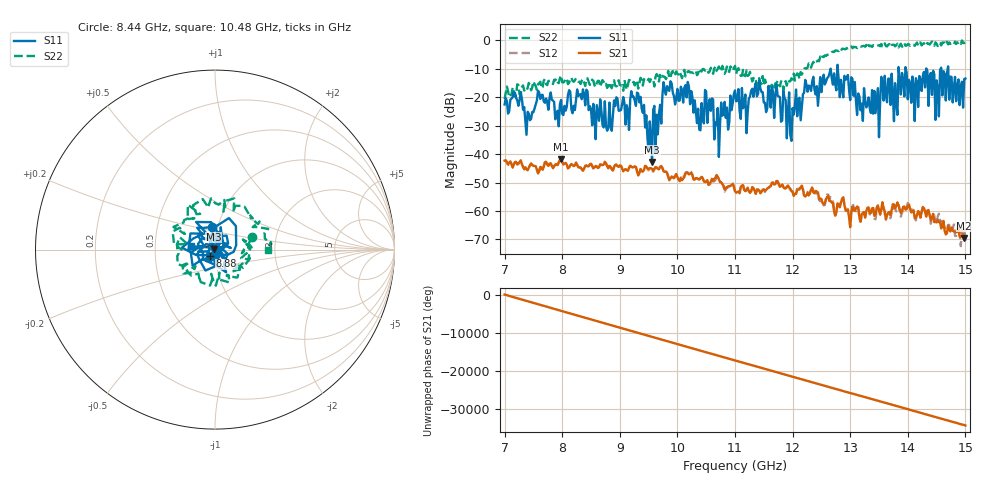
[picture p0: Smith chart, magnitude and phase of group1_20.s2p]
! 4/11/2025 3:27:37 PM
! C:\ANRITSUVNA\LELEC2350\LAB1_2025\GROUP1_20.S2P
! CHANNEL.1
! TR.MEASUREMENT
! CORRECTED.DATA
! RF.CORRECTION: FULL.TWO.PORT.CAL.PORT.1.2
! AVERAGING.OFF
! IF.BANDWIDTH: 300HZ
! SWEEPTYPE:  FREQ.SWEEP(Linear)
! Reference Plane Port Info
! PORT:  PORT1  PORT2
! DISTANCE:  0  m  0  m
! TIME:  0  s  0  s
! PHASE.OFFSET:  0 °  0 °
! LOSS:  0  dB  0  dB
! REF.LOSS:  0  dB  0  dB
! REF.FREQ:  0  Hz  0  Hz
! Power Info
! POWER:  5  dBm  5  dBm
! EFF.POWER:  5  dBm  5  dBm
# GHZ S RI R 50.0
! FREQ.GHZ  S11RE  S11IM  S21RE  S21IM  S12RE  S12IM  S22RE  S22IM
!; PortSelection: Port_12
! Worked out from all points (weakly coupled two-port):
!   401 points, 7 GHz to 15 GHz, reference 50 ohm
!   highest |S21| = -41.79 dB at 7.98 GHz (marker M1); lowest = -69.5 dB at 14.98 GHz (marker M2)
!   lowest |S11| = -42.8 dB at 9.56 GHz (marker M3), VSWR 1.01, Z = 49.4 + j0.408 ohm
!   |S11| at or under -10 dB: start of sweep to 12.66 GHz; 12.79 GHz to 13.84 GHz (1.054 GHz wide, 7.92 % of centre); 13.97 GHz to 14.32 GHz (352.9 MHz wide, 2.49 % of centre) (the widest 3 of 8)
!   |S22| runs from -20.6 to 0.0 dB; largest |S21 - S12| = 0.00042
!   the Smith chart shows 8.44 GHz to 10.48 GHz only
!   S11 on the Smith chart (normalised r, x): 8.44 GHz: 0.94, +0.24; 8.88 GHz: 0.94, -0.07; 10.48 GHz: 0.76, +0.03
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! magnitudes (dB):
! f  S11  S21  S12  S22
! 7 GHz  -22.5  -42.3  -42.3  -20.6
! 7.98 GHz  -20.9  -41.8  -41.6  -12.3
! 8.34 GHz  -20.6  -45.3  -45.4  -14.1
! 8.44 GHz  -17.8  -44.3  -44.3  -13.3
! 8.88 GHz  -26.6  -45.7  -45.7  -15.2
! 9.32 GHz  -18.7  -47.5  -47.3  -16.9
! 9.52 GHz  -28.4  -44.9  -45.2  -14.6
! 9.56 GHz  -42.8  -45.2  -45.6  -13.4
! 9.68 GHz  -25.7  -45.3  -45.3  -14.4
! 9.86 GHz  -17.7  -49.1  -49.2  -13.3
! 10.48 GHz  -17.4  -49.8  -50.0  -10.6
! 10.58 GHz  -24.7  -49.7  -50.2  -9.6
! 10.68 GHz  -29.8  -47.3  -48.1  -10.7
! 11 GHz  -17.6  -53.0  -52.9  -8.9
! 11.74 GHz  -19.4  -49.5  -49.8  -14.2
! 11.94 GHz  -18.3  -51.8  -52.2  -14.4
! 12.34 GHz  -14.5  -51.7  -51.7  -8.4
! 12.94 GHz  -13.2  -59.9  -59.2  -2.7
! 13.48 GHz  -16.8  -58.0  -59.3  -1.7
! 13.68 GHz  -13.5  -60.3  -61.1  -1.3
! 14.98 GHz  -13.6  -69.5  -66.8  -0.9
! 15 GHz  -13.4  -69.5  -70.6  -0.8
